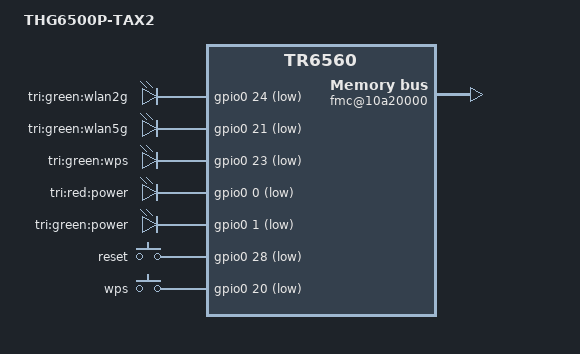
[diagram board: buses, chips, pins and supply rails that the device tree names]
/*
 * dts file for TRIDUCTOR Ltd. tr6560P  Board
 *
 * Copyright (C) 2024-08-28, TRIDUCTOR Ltd.
 *
 */

#include <dt-bindings/gpio/gpio.h>
#include <dt-bindings/input/input.h>
#include <dt-bindings/phy/phy.h>
#include <dt-bindings/interrupt-controller/irq.h>
#include <dt-bindings/interrupt-controller/arm-gic.h>

#include "triductor-tr6560.dtsi" 

/ {
	model = "THG6500P-TAX2";
	compatible = "THG6500P-TAX2", "triductor,tr6560";

	leds {
		compatible = "gpio-leds";
		wlan_sharegpio = <0>;

		wlan2g {
			label = "tri:green:wlan2g";
			gpios = <&gpio0 24 GPIO_ACTIVE_LOW>;
			default-state = "off";
		};

		wlan5g {
			label = "tri:green:wlan5g";
			gpios = <&gpio0 21 GPIO_ACTIVE_LOW>;
			default-state = "off";
		};

		wps {
			label = "tri:green:wps";
			gpios = <&gpio0 23 GPIO_ACTIVE_LOW>;
			default-state = "off";
		};

		power-red {
			label = "tri:red:power";
			gpios = <&gpio0 0 GPIO_ACTIVE_LOW>;
			default-state = "keep";
		};

		power-green {
			label = "tri:green:power";
			gpios = <&gpio0 1 GPIO_ACTIVE_LOW>;
			default-state = "off";
		};
	};

	keys {
		compatible = "gpio-keys";
		
		reset {
			label = "reset";
			linux,code = <KEY_RESTART>;
			gpios = <&gpio0 28 GPIO_ACTIVE_LOW>;
		};

		wps {
			label = "wps";
			linux,code = <KEY_WPS_BUTTON>;
			gpios = <&gpio0 20 GPIO_ACTIVE_LOW>;
		};
	};

	// 此节点标识单板gpio特性
	board{
		compatible = "tri,board";
		usb_power = <27>; // usb 电源控制vbus管脚
		current_limit = <28>; //gpio限流保护引脚，目前无芯片使用
		
		tr5220;
		pcie2_0;
		pcie_rstn    = <16>;  //初始配置拉高；低电平复位
		vol_en       = <9>;  //高电平有效，高电平给wifi上电,CPU 控制0.9V 上电使能
		wl_en        = <22>; //tr5220 使能
		pmu_pwron    = <25>; //tr5220 上电

	      //rgmii;               // rgmii模块属性，涉及GPIO复用配置，不使用请屏蔽
	      //extphy;              // 带rgmii时的外置phy属性，涉及GPIO复用配置，不使用请屏蔽
    	      //tx_delay     = <4>;    //rgmill tx_delay 0.2ns步进
      	      //rx_delay     = <0>;    //rgmill rx_delay 0.2ns步进
	      //extphy_rstn  = <25>;  //外置phy reset 引脚

       	       i2c;                  // TR6560 i2c 只有一组GPIO24，GPIO25
               i2c_enable   = <0>;   // 等于1，使能iic 模块,等于0 不使能i2c 模块
               addr_mode    = <0x1>; //0.7bit地址长度  1:10bit地址长度
               baud_rate    = <0x1>; // 0:100k 1:400k 2:3.4M
 
	       jtag_sel;            //wifi芯片操作gpio管脚和jtag复用，jtag优先级更高
	};
	
	fmc@10a20000 {
		compatible = "tri,fmc";
		bus_id = "fmc";
		reg = <0x10a20000 0x1000>,
			<0x1c000000 0x100000>;
		spi_cs = <0x1>;  

		partitions {
			compatible = "fixed-partitions";
			#address-cells = <1>;
			#size-cells = <1>;

			uboot{
				label = "uboot";
				reg = <0x000000000000 0x80000>;
			};

			kernelA{
				label = "kernelA";
				reg = <0x000000080000  0x800000>;
			};

			rootfsA{
				label = "rootfsA";
				reg = <0x000000880000  0x2000000>;
				read-only;
			};

			firmwareA{
				label = "firmwareA";
				reg = <0x000000080000  0x2800000>;
			};

			kernelB{
				label = "kernelB";
				reg = <0x000002880000  0x800000>;
			};

			rootfsB{
				label = "rootfsB";
				reg = <0x000003080000  0x2000000>;
				read-only;
			};

			firmwareB{
				label = "firmwareB";
				reg = <0x000002880000  0x2800000>;
			};

			rootfs_data{
				label = "rootfs_data";
				reg = <0x000005080000  0x2E00000>;
			};

			equip{
				label = "equip";
				reg = <0x000007E80000  0x80000>;
			};

			wlanrf{
				label = "wlanrf";
				reg = <0x000007F00000  0x80000>;
			};

			upgflag{
				label = "upgflag";
				reg = <0x000007F80000  0x80000>;
			};
		};
	};
};

&halport0 {
	ports {
		#address-cells = <1>;
		#size-cells = <0>;
		port@0 {
			reg = <0>;
			label = "wan";
			phy-mode = "internal";
			phy-handle = <&phy1>;
		};
		port@1 {
			reg = <1>;
			label = "lan1";
			phy-mode = "internal";
			phy-handle = <&phy2>;
		};
		port@2 {
			reg = <2>;
			label = "lan2";
			phy-mode = "internal";
			phy-handle = <&phy3>;
		};
		port@3 {
			reg = <3>;
			label = "lan3";
			phy-mode = "internal";
			phy-handle = <&phy4>;
		};
		port@4 {
			reg = <4>;
			label = "lan4";
			phy-mode = "internal";
			phy-handle = <&phy5>;
		};
	};

};

